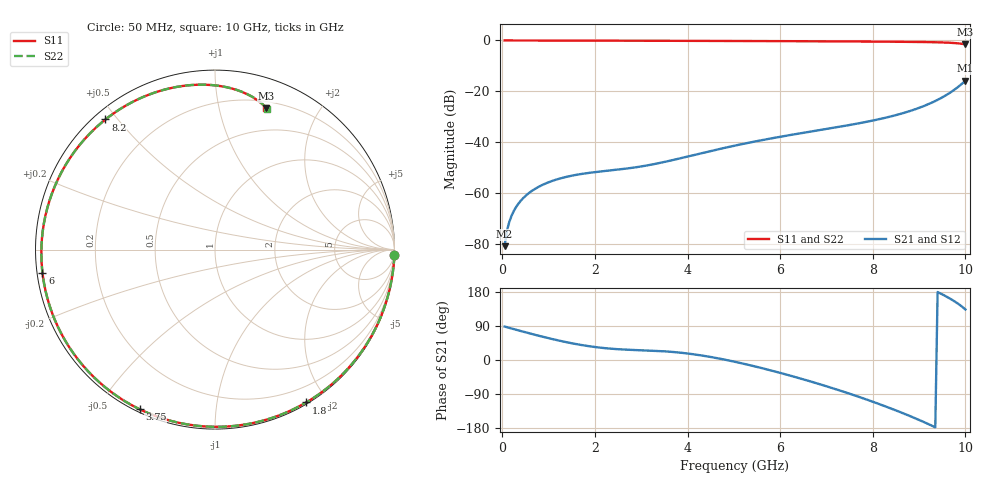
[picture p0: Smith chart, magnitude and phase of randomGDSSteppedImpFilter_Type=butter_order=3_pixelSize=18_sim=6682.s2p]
! freq	dB(S11)	phase(S11)	dB(S12)	phase(S12)
!  dB(S21)	phase(S21)	dB(S22)	phase(S22)
!S-par simulation data
#  GHz  S  DB  R 50
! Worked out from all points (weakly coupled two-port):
!   200 points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, 50 MHz to 10 GHz, reference 50 ohm
!   highest |S21| = -15.87 dB at 10 GHz (marker M1); lowest = -81.0 dB at 50 MHz (marker M2)
!   lowest |S11| = -1.5 dB at 10 GHz (marker M3), VSWR 11.38, Z = 13.1 + j69.7 ohm
!   |S11| at or under -10 dB: nowhere
!   |S22| runs from -1.5 to 0.0 dB; largest |S21 - S12| = 0
!   S11 on the Smith chart (normalised r, x): 50 MHz: 0, -67; 1.8 GHz: 0.02, -1.76; 3.75 GHz: 0.01, -0.63; 6 GHz: 0.02, -0.07; 8.2 GHz: 0.03, +0.46; 10 GHz: 0.26, +1.39
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0.05  -0.00 -1.7  -80.95 88.2  -80.95 88.2  -0.00 -1.7
0.1  -0.00 -3.4  -74.95 86.5  -74.95 86.5  -0.00 -3.4
0.2  -0.01 -6.8  -68.96 83.1  -68.96 83.1  -0.01 -6.8
0.35  -0.02 -11.9  -64.18 78.1  -64.18 78.1  -0.02 -11.9
0.5  -0.02 -16.9  -61.20 73.1  -61.20 73.1  -0.02 -16.9
1  -0.04 -33.6  -55.80 57.5  -55.80 57.5  -0.04 -33.6
1.75  -0.07 -57.6  -52.43 38.7  -52.43 38.7  -0.07 -57.7
1.8  -0.07 -59.2  -52.29 37.7  -52.29 37.7  -0.07 -59.2
2.6  -0.10 -83.3  -50.60 27.7  -50.60 27.7  -0.10 -83.3
3.4  -0.13 -105.9  -48.20 23.6  -48.20 23.6  -0.13 -105.9
3.75  -0.14 -115.3  -46.78 20.5  -46.78 20.5  -0.14 -115.4
4.4  -0.17 -132.3  -43.94 10.0  -43.94 10.0  -0.17 -132.3
5.05  -0.21 -148.7  -41.27 -5.4  -41.27 -5.4  -0.21 -148.8
6  -0.27 -172.4  -37.91 -34.0  -37.91 -34.0  -0.27 -172.5
6.7  -0.32 170.1  -35.73 -58.2  -35.73 -58.2  -0.32 169.9
7.45  -0.38 150.6  -33.43 -86.9  -33.43 -86.9  -0.38 150.5
8.2  -0.47 130.1  -30.73 -119.0  -30.73 -119.0  -0.47 129.9
8.35  -0.48 125.8  -30.08 -125.9  -30.08 -125.9  -0.49 125.6
8.85  -0.56 111.0  -27.49 -150.3  -27.49 -150.3  -0.56 110.8
9.3  -0.68 96.6  -24.26 -174.7  -24.26 -174.7  -0.68 96.4
9.7  -0.94 82.3  -20.18 159.7  -20.18 159.7  -0.94 82.0
10  -1.53 70.1  -15.87 133.3  -15.87 133.3  -1.54 69.8
